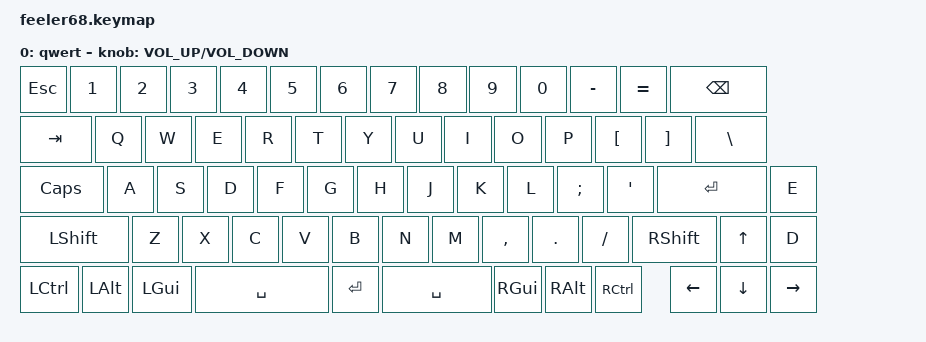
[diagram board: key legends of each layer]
#define BASE 0
#define LOWER 1
#define MOUSE_KEYS 2
#define MOUSE_TP 3
#define MOUSE_TP_SET 4

#include <zephyr/dt-bindings/input/input-event-codes.h>
#include <behaviors/toggle_io.dtsi>
#include <behaviors/on_io.dtsi>
#include <behaviors/off_io.dtsi>
#include <behaviors.dtsi>
#include <dt-bindings/zmk/bt.h>
#include <dt-bindings/zmk/keys.h>
#include <dt-bindings/zmk/pointing.h>
#include <dt-bindings/zmk/rgb.h>

/ {
    behaviors {
        ltq: ltq {
            compatible = "zmk,behavior-hold-tap";
            label = "LTQ";
            bindings = <&mo>, <&kp>;

            #binding-cells = <2>;
            tapping-term-ms = <200>;
            quick-tap-ms = <180>;
        };
    };

    combos {
        compatible = "zmk,combos";

        flash {
            bindings = <&bootloader>;
            key-positions = <0 11>;
        };
    };
    keymap {
        compatible = "zmk,keymap";

        qwert {
            bindings = <
&kp ESC    &kp N1    &kp N2    &kp N3     &kp N4     &kp N5     &kp N6    &kp N7    &kp N8     &kp N9          &kp N0          &kp MINUS        &kp EQUAL     &kp BSPC
&kp TAB    &kp Q     &kp W     &kp E      &kp R      &kp T      &kp Y     &kp U     &kp I      &kp O           &kp P           &kp LBKT         &kp RBKT      &kp BSLH
&kp CAPS   &kp A     &kp S     &kp D      &kp F      &kp G      &kp H     &kp J     &kp K      &kp L           &kp SEMI        &kp APOS         &kp ENTER     &kp E
&kp LSHFT  &kp Z     &kp X     &kp C      &kp V      &kp B      &kp N     &kp M     &kp COMMA  &kp DOT         &kp FSLH        &kp RSHFT        &kp UP_ARROW   &kp D
&kp LCTRL  &kp LALT  &kp LGUI  &kp SPACE  &kp ENTER  &kp SPACE  &kp RGUI  &kp RALT  &kp RCTRL  &kp LEFT_ARROW  &kp DOWN_ARROW  &kp RIGHT_ARROW
            >;

            sensor-bindings = <&inc_dec_kp C_VOLUME_UP C_VOLUME_DOWN>;
        };
    };
};
